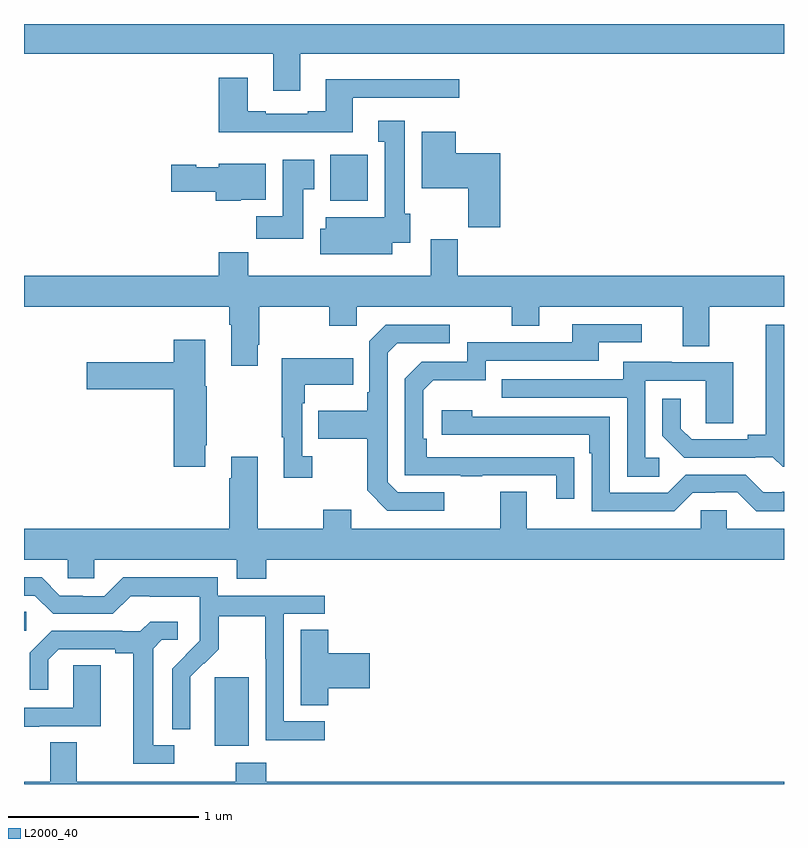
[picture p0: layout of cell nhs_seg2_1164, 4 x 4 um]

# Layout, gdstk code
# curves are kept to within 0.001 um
import gdstk
lib = gdstk.Library(unit=1e-6, precision=1e-09)
def R(c, l, rs):  # rectangles x0, y0, x1, y1
    for r in rs: c.add(gdstk.rectangle(r[:2], r[2:], *l))
def P(c, l, *ps):  # polygons
    for p in ps: c.add(gdstk.Polygon(p, *l))
L2000_40 = (2000, 40)

nhs_seg2_1164 = lib.new_cell('nhs_seg2_1164')
R(nhs_seg2_1164, L2000_40, [(172.004,636.002,172.183,636.363), (171,636.606,171.013,636.707), (172.613,638.87,172.81,639.112)])
P(nhs_seg2_1164, L2000_40, [(172.453,639.644),(175,639.644),(175,639.8),(171,639.8),(171,639.644),(172.313,639.644),(172.313,639.45),(172.453,639.45)],
  [(172.729,639.411),(173.29,639.411),(173.29,639.508),(172.589,639.508),(172.589,639.34),(172.493,639.34),(172.493,639.327),(172.273,639.327),(172.273,639.34),(172.177,639.34),(172.177,639.517),(172.025,639.517),(172.025,639.23),(172.729,639.23)],
  [(172.939,638.648),(173.032,638.648),(173.032,638.802),(173.005,638.802),(173.005,639.292),(172.865,639.292),(172.865,639.179),(172.898,639.179),(172.898,638.782),(172.589,638.782),(172.589,638.723),(172.559,638.723),(172.559,638.588),(172.939,638.588)],
  [(173.507,639.121),(173.272,639.121),(173.272,639.232),(173.093,639.232),(173.093,638.936),(173.337,638.936),(173.337,638.731),(173.507,638.731)],
  [(172.471,638.929),(172.528,638.929),(172.528,639.085),(172.361,639.085),(172.361,638.788),(172.222,638.788),(172.222,638.67),(172.471,638.67)],
  [(172.14,638.876),(172.273,638.876),(172.273,639.064),(172.026,639.064),(172.026,639.046),(171.906,639.046),(171.906,639.059),(171.774,639.059),(171.774,638.917),(172.01,638.917),(172.01,638.87),(172.14,638.87)],
  [(172.231,638.113),(172.239,638.113),(172.239,638.312),(172.606,638.312),(172.606,638.213),(172.752,638.213),(172.752,638.312),(173.566,638.312),(173.566,638.213),(173.713,638.213),(173.713,638.312),(174.467,638.312),(174.467,638.104),(174.607,638.104),(174.607,638.312),(175,638.312),(175,638.476),(173.282,638.476),(173.282,638.666),(173.141,638.666),(173.141,638.476),(172.181,638.476),(172.181,638.6),(172.025,638.6),(172.025,638.476),(171,638.476),(171,638.312),(172.079,638.312),(172.079,638.216),(172.091,638.216),(172.091,638.001),(172.231,638.001)],
  [(173.897,637.52),(173.12,637.521),(173.12,637.618),(173.1,637.618),(173.1,637.872),(173.153,637.925),(173.43,637.925),(173.43,638.028),(174.025,638.028),(174.025,638.124),(174.25,638.124),(174.25,638.22),(173.885,638.22),(173.885,638.124),(173.334,638.124),(173.334,638.022),(173.094,638.022),(173.004,637.932),(173.004,637.425),(173.299,637.425),(173.299,637.42),(173.411,637.42),(173.411,637.425),(173.801,637.425),(173.801,637.302),(173.897,637.302)],
  [(173.212,637.335),(172.968,637.335),(172.914,637.389),(172.914,638.07),(172.965,638.121),(173.242,638.121),(173.242,638.217),(172.905,638.217),(172.818,638.13),(172.818,637.861),(172.806,637.861),(172.806,637.765),(172.549,637.765),(172.549,637.618),(172.806,637.618),(172.806,637.345),(172.911,637.239),(173.212,637.239)],
  [(175,638.217),(174.905,638.217),(174.905,637.637),(174.809,637.637),(174.809,637.614),(174.514,637.614),(174.457,637.671),(174.457,637.828),(174.36,637.828),(174.36,637.634),(174.476,637.518),(174.848,637.518),(174.848,637.521),(174.942,637.521),(174.994,637.469),(175,637.469)],
  [(171.955,637.582),(171.963,637.582),(171.963,637.893),(171.955,637.893),(171.955,638.137),(171.788,638.137),(171.788,638.019),(171.33,638.019),(171.33,637.877),(171.788,637.877),(171.788,637.47),(171.955,637.47)],
  [(172.516,637.526),(172.464,637.526),(172.464,637.805),(172.477,637.805),(172.477,637.901),(172.733,637.901),(172.733,638.041),(172.356,638.041),(172.356,637.625),(172.367,637.625),(172.367,637.413),(172.516,637.413)],
  [(174.343,637.518),(174.27,637.518),(174.27,637.923),(174.588,637.923),(174.588,637.699),(174.733,637.699),(174.733,638.019),(174.409,638.019),(174.409,638.023),(174.155,638.023),(174.155,637.929),(173.515,637.929),(173.515,637.833),(174.174,637.833),(174.174,637.417),(174.343,637.417)],
  [(175,637.339),(174.991,637.339),(174.991,637.335),(174.891,637.335),(174.798,637.428),(174.483,637.428),(174.387,637.332),(174.084,637.332),(174.084,637.734),(173.36,637.734),(173.36,637.768),(173.199,637.768),(173.199,637.638),(173.975,637.638),(173.975,637.541),(173.988,637.541),(173.988,637.236),(174.423,637.236),(174.519,637.332),(174.638,637.332),(174.638,637.335),(174.753,637.335),(174.853,637.235),(175,637.235)],
  [(172.121,636.881),(172.274,636.881),(172.274,636.98),(175,636.98),(175,637.144),(174.699,637.144),(174.699,637.242),(174.561,637.242),(174.561,637.144),(173.647,637.144),(173.647,637.339),(173.507,637.339),(173.507,637.144),(172.723,637.144),(172.723,637.243),(172.576,637.243),(172.576,637.144),(172.231,637.144),(172.231,637.522),(172.091,637.522),(172.091,637.409),(172.079,637.409),(172.079,637.144),(171,637.144),(171,636.98),(171.231,636.98),(171.231,636.882),(171.369,636.882),(171.369,636.98),(172.121,636.98)],
  [(172.582,636.129),(172.368,636.129),(172.368,636.696),(172.582,636.696),(172.582,636.792),(172.02,636.792),(172.02,636.889),(171.523,636.889),(171.423,636.789),(171.308,636.789),(171.308,636.792),(171.189,636.792),(171.093,636.888),(171,636.888),(171,636.792),(171.057,636.792),(171.153,636.696),(171.468,636.696),(171.561,636.789),(171.661,636.789),(171.661,636.785),(171.924,636.785),(171.924,636.651),(171.926,636.651),(171.926,636.554),(171.78,636.406),(171.78,636.088),(171.876,636.088),(171.875,636.365),(171.945,636.435),(171.948,636.432),(172.025,636.509),(172.025,636.684),(172.27,636.684),(172.27,636.46),(172.272,636.46),(172.272,636.031),(172.582,636.031)],
  [(171.79,636.003),(171.679,636.003),(171.679,636.511),(171.726,636.558),(171.808,636.558),(171.808,636.655),(171.664,636.655),(171.612,636.603),(171.518,636.603),(171.518,636.606),(171.146,636.606),(171.03,636.49),(171.03,636.297),(171.127,636.297),(171.127,636.453),(171.184,636.51),(171.479,636.51),(171.479,636.488),(171.575,636.488),(171.575,635.907),(171.79,635.907)],
  [(172.601,636.305),(172.819,636.305),(172.819,636.488),(172.601,636.488),(172.601,636.611),(172.457,636.611),(172.457,636.214),(172.601,636.214)],
  [(171.079,636.105),(171.403,636.105),(171.403,636.425),(171.258,636.425),(171.258,636.201),(171,636.201),(171,636.101),(171.079,636.101)],
  [(175,635.812),(172.274,635.812),(172.274,635.911),(172.114,635.911),(172.114,635.812),(171.277,635.812),(171.277,636.02),(171.137,636.02),(171.137,635.812),(171,635.812),(171,635.8),(175,635.8)])

lib.write_gds('nhs_seg2_1164.gds')
